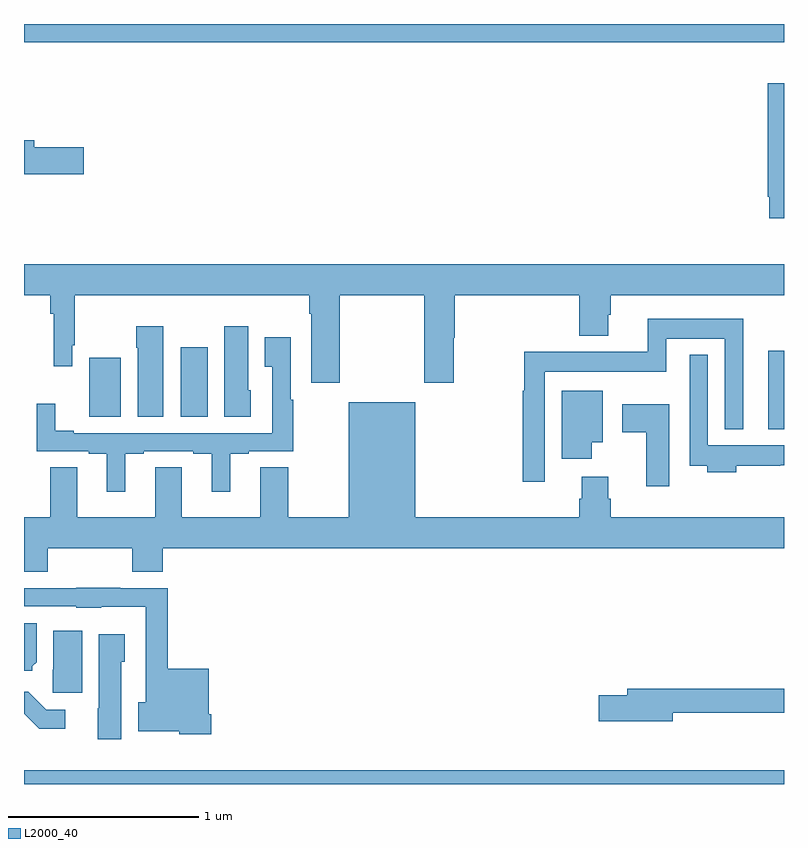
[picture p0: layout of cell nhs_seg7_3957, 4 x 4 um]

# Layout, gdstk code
import gdstk
lib = gdstk.Library(unit=1e-6, precision=1e-09)
def R(c, l, rs):  # rectangles x0, y0, x1, y1
    for r in rs: c.add(gdstk.rectangle(r[:2], r[2:], *l))
def P(c, l, *ps):  # polygons
    for p in ps: c.add(gdstk.Polygon(p, *l))
L2000_40 = (2000, 40)

nhs_seg7_3957 = lib.new_cell('nhs_seg7_3957')
R(nhs_seg7_3957, L2000_40, [(361,1042,365,1042.072), (364.916,1043.868,365,1044.279), (361.343,1043.932,361.51,1044.244), (361.826,1043.932,361.966,1044.298), (361,1045.904,365,1046)])
P(nhs_seg7_3957, L2000_40, [(365,1045.688),(364.915,1045.688),(364.915,1045.09),(364.923,1045.09),(364.923,1044.978),(365,1044.978)],
  [(361.315,1045.352),(361.054,1045.352),(361.054,1045.388),(361,1045.388),(361,1045.21),(361.315,1045.21)],
  [(362.661,1044.572),(363.106,1044.572),(363.106,1044.111),(363.261,1044.111),(363.261,1044.35),(363.266,1044.35),(363.266,1044.572),(363.923,1044.572),(363.923,1044.359),(364.075,1044.359),(364.075,1044.471),(364.088,1044.471),(364.088,1044.572),(365,1044.572),(365,1044.736),(361,1044.736),(361,1044.572),(361.138,1044.572),(361.138,1044.476),(361.157,1044.476),(361.157,1044.198),(361.254,1044.198),(361.254,1044.31),(361.267,1044.31),(361.267,1044.572),(362.501,1044.572),(362.501,1044.476),(362.513,1044.476),(362.513,1044.111),(362.661,1044.111)],
  [(363.741,1044.17),(364.38,1044.17),(364.38,1044.344),(364.689,1044.344),(364.689,1043.867),(364.786,1043.867),(364.786,1044.448),(364.283,1044.448),(364.283,1044.274),(363.633,1044.274),(363.633,1044.07),(363.625,1044.07),(363.625,1043.592),(363.741,1043.592)],
  [(361.732,1044.409),(361.591,1044.409),(361.591,1044.296),(361.598,1044.296),(361.598,1043.932),(361.732,1043.932)],
  [(362.194,1044.072),(362.179,1044.072),(362.179,1044.409),(362.054,1044.409),(362.054,1043.932),(362.194,1043.932)],
  [(361.534,1043.739),(361.63,1043.739),(361.63,1043.751),(361.892,1043.751),(361.892,1043.739),(361.988,1043.739),(361.988,1043.538),(362.086,1043.538),(362.086,1043.739),(362.182,1043.739),(362.182,1043.751),(362.416,1043.751),(362.416,1044.023),(362.403,1044.023),(362.403,1044.352),(362.267,1044.352),(362.267,1044.196),(362.307,1044.196),(362.307,1043.847),(361.261,1043.847),(361.261,1043.86),(361.165,1043.86),(361.165,1044.001),(361.068,1044.001),(361.068,1043.751),(361.34,1043.751),(361.34,1043.739),(361.436,1043.739),(361.436,1043.538),(361.534,1043.538)],
  [(364.748,1043.676),(364.979,1043.676),(364.979,1043.678),(365,1043.678),(365,1043.782),(364.599,1043.782),(364.599,1044.259),(364.503,1044.259),(364.503,1043.676),(364.595,1043.676),(364.595,1043.642),(364.748,1043.642)],
  [(363.988,1043.798),(364.045,1043.798),(364.045,1044.07),(363.83,1044.07),(363.83,1043.712),(363.988,1043.712)],
  [(361.125,1043.24),(361.57,1043.24),(361.57,1043.116),(361.73,1043.116),(361.73,1043.24),(365,1043.24),(365,1043.404),(364.088,1043.404),(364.088,1043.502),(364.075,1043.502),(364.075,1043.617),(363.935,1043.617),(363.935,1043.502),(363.923,1043.502),(363.923,1043.404),(363.058,1043.404),(363.058,1044.01),(362.708,1044.01),(362.708,1043.404),(362.391,1043.404),(362.391,1043.666),(362.243,1043.666),(362.243,1043.404),(361.831,1043.404),(361.831,1043.666),(361.691,1043.666),(361.691,1043.404),(361.279,1043.404),(361.279,1043.666),(361.139,1043.666),(361.139,1043.404),(361,1043.404),(361,1043.116),(361.125,1043.116)],
  [(364.396,1043.998),(364.149,1043.998),(364.149,1043.851),(364.274,1043.851),(364.274,1043.568),(364.396,1043.568)],
  [(361.985,1042.366),(361.972,1042.366),(361.972,1042.606),(361.757,1042.606),(361.757,1043.031),(361.507,1043.031),(361.507,1043.033),(361.275,1043.033),(361.275,1043.031),(361,1043.031),(361,1042.935),(361.275,1042.935),(361.275,1042.928),(361.407,1042.928),(361.407,1042.934),(361.641,1042.934),(361.641,1042.43),(361.601,1042.43),(361.601,1042.277),(361.818,1042.277),(361.818,1042.262),(361.985,1042.262)],
  [(361.044,1042.62),(361.066,1042.642),(361.066,1042.846),(361,1042.846),(361,1042.595),(361.044,1042.595)],
  [(361.306,1042.807),(361.154,1042.807),(361.154,1042.602),(361.15,1042.602),(361.15,1042.479),(361.306,1042.479)],
  [(361.513,1042.644),(361.531,1042.644),(361.531,1042.789),(361.394,1042.789),(361.394,1042.398),(361.388,1042.398),(361.388,1042.236),(361.513,1042.236)],
  [(364.414,1042.374),(365,1042.374),(365,1042.502),(364.175,1042.502),(364.175,1042.466),(364.026,1042.466),(364.026,1042.331),(364.414,1042.331)],
  [(361.216,1042.392),(361.116,1042.392),(361.022,1042.486),(361,1042.486),(361,1042.37),(361.081,1042.29),(361.216,1042.29)])

lib.write_gds('nhs_seg7_3957.gds')
